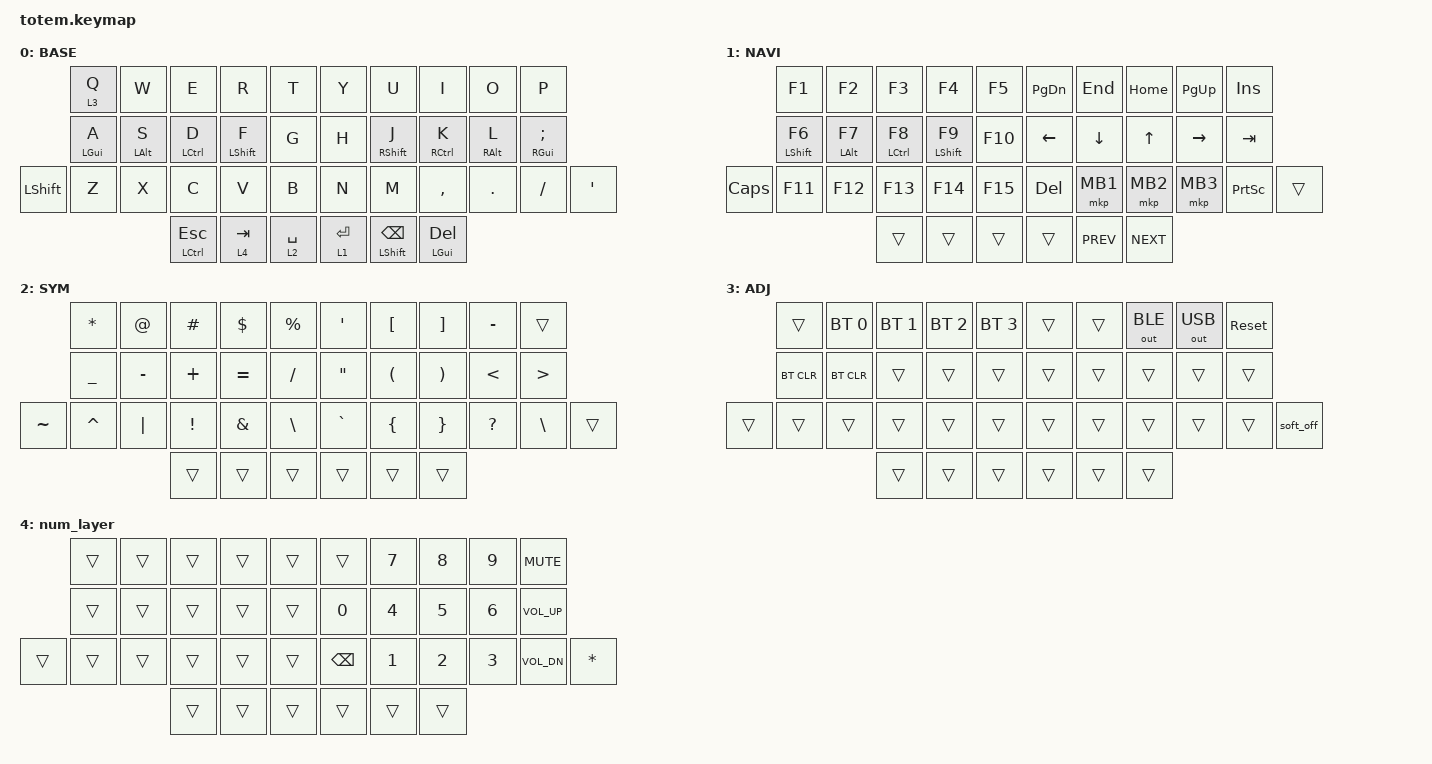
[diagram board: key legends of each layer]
//
//                                                        ▀▀▀▀▀     ▀▀▀▀▀          ▀▀█▀▀
//                                                        ▄▀▀▀▄  ▄  ▄▀▀▀▄  ▄  ▄▀▀▀▄  █  ▄▀▀▀▄
//                                                        █   █  █  █   █  █  █   █  █  █   █
//                                                         ▀▀▀   █   ▀▀▀   █   ▀▀▀   ▀   ▀▀▀
//                                                               █      ▄▄▄█▄▄▄    █   █  
//                                                               ▀      █  █  █     █▄█
//                                                             ▀▀▀▀▀    █  █  █      ▀
//                                                                      ▀  ▀  ▀
//
// ▄▄▄▄▄▄▄▄▄▄▄▄▄▄▄▄▄▄▄▄▄▄▄▄▄▄▄▄▄▄▄▄▄▄▄▄▄▄▄▄▄▄▄▄▄▄▄▄▄▄▄▄▄▄▄▄▄▄▄▄▄▄▄▄▄▄▄▄▄▄▄▄▄▄▄▄▄▄▄▄▄▄▄▄▄▄▄▄▄▄▄▄▄▄▄▄▄▄▄▄▄▄▄▄▄▄▄▄▄▄▄▄▄▄▄▄▄▄▄▄▄▄▄▄▄▄▄▄▄▄▄▄▄▄▄▄▄▄▄▄▄▄▄▄▄▄▄▄▄

#include <dt-bindings/zmk/mouse.h>
#include <behaviors.dtsi>
#include <dt-bindings/zmk/bt.h>
#include <dt-bindings/zmk/keys.h>
#include <dt-bindings/zmk/outputs.h>
#include <dt-bindings/zmk/pointing.h>

#define BASE 0
#define NAV  1
#define SYM  2
#define ADJ  3
#define TVP1 4
#define TVP2 5

&mt {
    quick-tap-ms = <100>;
    global-quick-tap;
    flavor = "tap-preferred";
    tapping-term-ms = <170>;
};

/ {
    combos { compatible = "zmk,combos"; };

    macros {
        gif: gif {
            label = "giphy";
            compatible = "zmk,behavior-macro";
            #binding-cells = <0>;
            bindings =
                <&macro_press>,
                <&kp LSHFT>,
                <&macro_tap>,
                <&kp N2>,
                <&macro_release>,
                <&kp LSHFT>,
                <&macro_tap>,
                <&kp G &kp I &kp F>;
        };
    };

    keymap {
        compatible = "zmk,keymap";

        // ▄▄▄▄▄▄▄▄▄▄▄▄▄▄▄▄▄▄▄▄▄▄▄▄▄▄▄▄▄▄▄▄▄▄▄▄▄▄▄▄▄▄▄▄▄▄▄▄▄▄▄▄▄▄▄▄▄▄▄▄▄▄▄▄▄▄▄▄▄▄▄▄▄▄▄▄▄▄▄▄▄▄▄▄▄▄▄▄▄▄▄▄▄▄▄▄▄▄▄▄▄▄▄▄▄▄▄▄▄▄▄▄▄▄▄▄▄▄▄▄▄▄▄▄▄▄▄▄▄▄▄▄▄▄▄▄▄▄▄▄▄▄▄▄▄▄▄▄▄

        base_layer {
            // ┏━━━━━━━━━━━━━━━━━━━━━━━━━━━━━━━━━━━━━━━┓

            label = "BASE";

            // ┗━━━━━━━━━━━━━━━━━━━━━━━━━━━━━━━━━━━━━━━┛
            //             ┏━━━━━━━━━━━┳━━━━━━━━━━━┳━━━━━━━━━━━┳━━━━━━━━━━━┳━━━━━━━━━━━┓   ┏━━━━━━━━━━━┳━━━━━━━━━━━┳━━━━━━━━━━━┳━━━━━━━━━━━┳━━━━━━━━━━━┓
            //             ┃     Q     ┃     W     ┃     F     ┃     P     ┃     G     ┃   ┃     J     ┃     L     ┃     U     ┃     Y     ┃     ;     ┃
            //             ┣━━━━━━━━━━━╋━━━━━━━━━━━╋━━━━━━━━━━━╋━━━━━━━━━━━╋━━━━━━━━━━━┫   ┣━━━━━━━━━━━╋━━━━━━━━━━━╋━━━━━━━━━━━╋━━━━━━━━━━━╋━━━━━━━━━━━┫
            //             ┃     A     ┃     R     ┃     S     ┃     T     ┃     D     ┃   ┃     H     ┃     N     ┃     E     ┃     I     ┃     O     ┃
            // ┏━━━━━━━━━━━╋━━━━━━━━━━━╋━━━━━━━━━━━╋━━━━━━━━━━━╋━━━━━━━━━━━╋━━━━━━━━━━━┫   ┣━━━━━━━━━━━╋━━━━━━━━━━━╋━━━━━━━━━━━╋━━━━━━━━━━━╋━━━━━━━━━━━╋━━━━━━━━━━━┓
            // ┃     Q     ┃     Z     ┃     X     ┃     C     ┃     V     ┃     B     ┃   ┃     K     ┃     M     ┃     ,     ┃     .     ┃     /     ┃     \     ┃
            // ┗━━━━━━━━━━━┻━━━━━━━━━━━┻━━━━━━━━━━━╋━━━━━━━━━━━╋━━━━━━━━━━━╋━━━━━━━━━━━┫   ┣━━━━━━━━━━━╋━━━━━━━━━━━╋━━━━━━━━━━━╋━━━━━━━━━━━┻━━━━━━━━━━━┻━━━━━━━━━━━┛
            //                                     ┃    DEL    ┃    TAB    ┃    SPC    ┃   ┃   ENTER   ┃           ┃   BSPC    ┃
            //                                     ┗━━━━━━━━━━━┻━━━━━━━━━━━┻━━━━━━━━━━━┛   ┗━━━━━━━━━━━┻━━━━━━━━━━━┻━━━━━━━━━━━┛

            bindings = <
                &lt 3 Q     &kp W       &kp E                    &kp R        &kp T          &kp Y        &kp U                     &kp I                &kp O       &kp P
                &mt LGUI A  &mt LALT S  &mt LCTRL D              &mt LSHFT F  &kp G          &kp H        &mt RSHFT J               &mt RCTRL K          &mt RALT L  &mt RGUI SEMICOLON
&kp LEFT_SHIFT  &kp Z       &kp X       &kp C                    &kp V        &kp B          &kp N        &kp M                     &kp COMMA            &kp DOT     &kp FSLH            &kp SINGLE_QUOTE
                                        &mt LEFT_CONTROL ESCAPE  &lt 4 TAB    &lt 2 SPACE    &lt 1 ENTER  &mt LEFT_SHIFT BACKSPACE  &mt LEFT_GUI DELETE
            >;
        };

        // ▄▄▄▄▄▄▄▄▄▄▄▄▄▄▄▄▄▄▄▄▄▄▄▄▄▄▄▄▄▄▄▄▄▄▄▄▄▄▄▄▄▄▄▄▄▄▄▄▄▄▄▄▄▄▄▄▄▄▄▄▄▄▄▄▄▄▄▄▄▄▄▄▄▄▄▄▄▄▄▄▄▄▄▄▄▄▄▄▄▄▄▄▄▄▄▄▄▄▄▄▄▄▄▄▄▄▄▄▄▄▄▄▄▄▄▄▄▄▄▄▄▄▄▄▄▄▄▄▄▄▄▄▄▄▄▄▄▄▄▄▄▄▄▄▄▄▄▄▄

        nav_layer {
            // ┏━━━━━━━━━━━━━━━━━━━━━━━━━━━━━━━━━━━━━━━┓

            label = "NAVI";

            // ┗━━━━━━━━━━━━━━━━━━━━━━━━━━━━━━━━━━━━━━━┛
            //             ┏━━━━━━━━━━━┳━━━━━━━━━━━┳━━━━━━━━━━━┳━━━━━━━━━━━┳━━━━━━━━━━━┓   ┏━━━━━━━━━━━┳━━━━━━━━━━━┳━━━━━━━━━━━┳━━━━━━━━━━━┳━━━━━━━━━━━┓
            //             ┃           ┃           ┃     UP    ┃           ┃     {     ┃   ┃     }     ┃     7     ┃     8     ┃     9     ┃     +     ┃
            //             ┣━━━━━━━━━━━╋━━━━━━━━━━━╋━━━━━━━━━━━╋━━━━━━━━━━━╋━━━━━━━━━━━┫   ┣━━━━━━━━━━━╋━━━━━━━━━━━╋━━━━━━━━━━━╋━━━━━━━━━━━╋━━━━━━━━━━━┫
            //             ┃   SHIFT   ┃   LEFT    ┃    DOWN   ┃   RIGHT   ┃     [     ┃   ┃     ]     ┃     4     ┃     5     ┃     6     ┃     -     ┃
            // ┏━━━━━━━━━━━╋━━━━━━━━━━━╋━━━━━━━━━━━╋━━━━━━━━━━━╋━━━━━━━━━━━╋━━━━━━━━━━━┫   ┣━━━━━━━━━━━╋━━━━━━━━━━━╋━━━━━━━━━━━╋━━━━━━━━━━━╋━━━━━━━━━━━╋━━━━━━━━━━━┓
            // ┃           ┃           ┃   P UP    ┃  C LOCK   ┃  P DOWN   ┃     (     ┃   ┃     )     ┃     1     ┃     2     ┃     3     ┃     *     ┃           ┃
            // ┗━━━━━━━━━━━┻━━━━━━━━━━━┻━━━━━━━━━━━╋━━━━━━━━━━━╋━━━━━━━━━━━╋━━━━━━━━━━━┫   ┣━━━━━━━━━━━╋━━━━━━━━━━━╋━━━━━━━━━━━╋━━━━━━━━━━━┻━━━━━━━━━━━┻━━━━━━━━━━━┛
            //                                     ┃           ┃    TAB    ┃    SPC    ┃   ┃    DEL    ┃     0     ┃           ┃
            //                                     ┗━━━━━━━━━━━┻━━━━━━━━━━━┻━━━━━━━━━━━┛   ┗━━━━━━━━━━━┻━━━━━━━━━━━┻━━━━━━━━━━━┛

            bindings = <
          &kp F1        &kp F2           &kp F3               &kp F4             &kp F5     &kp PAGE_DOWN   &kp END         &kp HOME      &kp PAGE_UP  &kp INSERT
          &mt LSHFT F6  &mt LEFT_ALT F7  &mt LEFT_CONTROL F8  &mt LEFT_SHIFT F9  &kp F10    &kp LEFT_ARROW  &kp DOWN_ARROW  &kp UP_ARROW  &kp RIGHT    &kp TAB
&kp CAPS  &kp F11       &kp F12          &kp F13              &kp F14            &kp F15    &kp DEL         &mkp MB1        &mkp MB2      &mkp MB3     &kp PRINTSCREEN  &trans
                                         &trans               &trans             &trans     &trans          &kp C_PREV      &kp C_NEXT
            >;
        };

        // ▄▄▄▄▄▄▄▄▄▄▄▄▄▄▄▄▄▄▄▄▄▄▄▄▄▄▄▄▄▄▄▄▄▄▄▄▄▄▄▄▄▄▄▄▄▄▄▄▄▄▄▄▄▄▄▄▄▄▄▄▄▄▄▄▄▄▄▄▄▄▄▄▄▄▄▄▄▄▄▄▄▄▄▄▄▄▄▄▄▄▄▄▄▄▄▄▄▄▄▄▄▄▄▄▄▄▄▄▄▄▄▄▄▄▄▄▄▄▄▄▄▄▄▄▄▄▄▄▄▄▄▄▄▄▄▄▄▄▄▄▄▄▄▄▄▄▄▄▄

        sim_layer {
            // ┏━━━━━━━━━━━━━━━━━━━━━━━━━━━━━━━━━━━━━━━┓

            label = "SYM";

            // ┗━━━━━━━━━━━━━━━━━━━━━━━━━━━━━━━━━━━━━━━┛
            //             ┏━━━━━━━━━━━┳━━━━━━━━━━━┳━━━━━━━━━━━┳━━━━━━━━━━━┳━━━━━━━━━━━┓   ┏━━━━━━━━━━━┳━━━━━━━━━━━┳━━━━━━━━━━━┳━━━━━━━━━━━┳━━━━━━━━━━━┓
            //             ┃     !     ┃     @     ┃     #     ┃     $     ┃     %     ┃   ┃     ˆ     ┃     &     ┃     Ü     ┃     '     ┃     "     ┃
            //             ┣━━━━━━━━━━━╋━━━━━━━━━━━╋━━━━━━━━━━━╋━━━━━━━━━━━╋━━━━━━━━━━━┫   ┣━━━━━━━━━━━╋━━━━━━━━━━━╋━━━━━━━━━━━╋━━━━━━━━━━━╋━━━━━━━━━━━┫
            //             ┃     Ä     ┃           ┃    SZ     ┃           ┃           ┃   ┃   MUTE    ┃   YEN     ┃   EURO    ┃  POUND    ┃     Ö     ┃
            // ┏━━━━━━━━━━━╋━━━━━━━━━━━╋━━━━━━━━━━━╋━━━━━━━━━━━╋━━━━━━━━━━━╋━━━━━━━━━━━┫   ┣━━━━━━━━━━━╋━━━━━━━━━━━╋━━━━━━━━━━━╋━━━━━━━━━━━╋━━━━━━━━━━━╋━━━━━━━━━━━┓
            // ┃           ┃  EMAIL1   ┃  EMAIL2   ┃           ┃           ┃           ┃   ┃   VOL-    ┃   VOL+    ┃   LAST    ┃   NEXT    ┃     \     ┃           ┃
            // ┗━━━━━━━━━━━┻━━━━━━━━━━━┻━━━━━━━━━━━╋━━━━━━━━━━━╋━━━━━━━━━━━╋━━━━━━━━━━━┫   ┣━━━━━━━━━━━╋━━━━━━━━━━━╋━━━━━━━━━━━╋━━━━━━━━━━━┻━━━━━━━━━━━┻━━━━━━━━━━━┛
            //                                     ┃           ┃    GIF    ┃    ADJ    ┃   ┃           ┃           ┃           ┃
            //                                     ┗━━━━━━━━━━━┻━━━━━━━━━━━┻━━━━━━━━━━━┛   ┗━━━━━━━━━━━┻━━━━━━━━━━━┻━━━━━━━━━━━┛

            bindings = <
           &kp ASTRK  &kp AT     &kp HASH  &kp DLLR   &kp PRCNT        &kp SINGLE_QUOTE   &kp LEFT_BRACKET      &kp RIGHT_BRACKET      &kp MINUS      &trans
           &kp UNDER  &kp MINUS  &kp PLUS  &kp EQUAL  &kp SLASH        &kp DOUBLE_QUOTES  &kp LEFT_PARENTHESIS  &kp RIGHT_PARENTHESIS  &kp LESS_THAN  &kp GREATER_THAN
&kp TILDE  &kp CARET  &kp PIPE   &kp EXCL  &kp AMPS   &kp BACKSLASH    &kp GRAVE          &kp LEFT_BRACE        &kp RIGHT_BRACE        &kp QUESTION   &kp BSLH          &trans
                                 &trans    &trans     &trans           &trans             &trans                &trans
            >;
        };

        // ▄▄▄▄▄▄▄▄▄▄▄▄▄▄▄▄▄▄▄▄▄▄▄▄▄▄▄▄▄▄▄▄▄▄▄▄▄▄▄▄▄▄▄▄▄▄▄▄▄▄▄▄▄▄▄▄▄▄▄▄▄▄▄▄▄▄▄▄▄▄▄▄▄▄▄▄▄▄▄▄▄▄▄▄▄▄▄▄▄▄▄▄▄▄▄▄▄▄▄▄▄▄▄▄▄▄▄▄▄▄▄▄▄▄▄▄▄▄▄▄▄▄▄▄▄▄▄▄▄▄▄▄▄▄▄▄▄▄▄▄▄▄▄▄▄▄▄▄▄

        bt_layer {
            // ┏━━━━━━━━━━━━━━━━━━━━━━━━━━━━━━━━━━━━━━━┓

            label = "ADJ";

            // ┗━━━━━━━━━━━━━━━━━━━━━━━━━━━━━━━━━━━━━━━┛
            //             ┏━━━━━━━━━━━┳━━━━━━━━━━━┳━━━━━━━━━━━┳━━━━━━━━━━━┳━━━━━━━━━━━┓   ┏━━━━━━━━━━━┳━━━━━━━━━━━┳━━━━━━━━━━━┳━━━━━━━━━━━┳━━━━━━━━━━━┓
            //             ┃   RESET   ┃ BT CLEAR  ┃  OUT TOG  ┃           ┃           ┃   ┃           ┃    F7     ┃    F8     ┃    F9     ┃    F12    ┃
            //             ┣━━━━━━━━━━━╋━━━━━━━━━━━╋━━━━━━━━━━━╋━━━━━━━━━━━╋━━━━━━━━━━━┫   ┣━━━━━━━━━━━╋━━━━━━━━━━━╋━━━━━━━━━━━╋━━━━━━━━━━━╋━━━━━━━━━━━┫
            //             ┃ BOOTLOAD  ┃ BT NEXT   ┃           ┃           ┃           ┃   ┃           ┃    F4     ┃    F5     ┃    F6     ┃    F11    ┃
            // ┏━━━━━━━━━━━╋━━━━━━━━━━━╋━━━━━━━━━━━╋━━━━━━━━━━━╋━━━━━━━━━━━╋━━━━━━━━━━━┫   ┣━━━━━━━━━━━╋━━━━━━━━━━━╋━━━━━━━━━━━╋━━━━━━━━━━━╋━━━━━━━━━━━╋━━━━━━━━━━━┓
            // ┃           ┃           ┃ BT PREV   ┃           ┃           ┃           ┃   ┃           ┃    F1     ┃    F2     ┃    F3     ┃    F10    ┃           ┃
            // ┗━━━━━━━━━━━┻━━━━━━━━━━━┻━━━━━━━━━━━╋━━━━━━━━━━━╋━━━━━━━━━━━╋━━━━━━━━━━━┫   ┣━━━━━━━━━━━╋━━━━━━━━━━━╋━━━━━━━━━━━╋━━━━━━━━━━━┻━━━━━━━━━━━┻━━━━━━━━━━━┛
            //                                     ┃           ┃           ┃           ┃   ┃           ┃           ┃           ┃
            //                                     ┗━━━━━━━━━━━┻━━━━━━━━━━━┻━━━━━━━━━━━┛   ┗━━━━━━━━━━━┻━━━━━━━━━━━┻━━━━━━━━━━━┛

            bindings = <
        &trans      &bt BT_SEL 0  &bt BT_SEL 1  &bt BT_SEL 2  &bt BT_SEL 3    &trans  &trans  &out OUT_BLE  &out OUT_USB  &sys_reset
        &bt BT_CLR  &bt BT_CLR    &trans        &trans        &trans          &trans  &trans  &trans        &trans        &trans
&trans  &trans      &trans        &trans        &trans        &trans          &trans  &trans  &trans        &trans        &trans      &soft_off
                                  &trans        &trans        &trans          &trans  &trans  &trans
            >;
        };

        num_layer {
            bindings = <
        &trans  &trans  &trans  &trans  &trans    &trans         &kp N7  &kp N8  &kp N9  &kp K_MUTE
        &trans  &trans  &trans  &trans  &trans    &kp N0         &kp N4  &kp N5  &kp N6  &kp C_VOLUME_UP
&trans  &trans  &trans  &trans  &trans  &trans    &kp BACKSPACE  &kp N1  &kp N2  &kp N3  &kp C_VOL_DN     &kp ASTRK
                        &trans  &trans  &trans    &trans         &trans  &trans
            >;
        };

        // ▄▄▄▄▄▄▄▄▄▄▄▄▄▄▄▄▄▄▄▄▄▄▄▄▄▄▄▄▄▄▄▄▄▄▄▄▄▄▄▄▄▄▄▄▄▄▄▄▄▄▄▄▄▄▄▄▄▄▄▄▄▄▄▄▄▄▄▄▄▄▄▄▄▄▄▄▄▄▄▄▄▄▄▄▄▄▄▄▄▄▄▄▄▄▄▄▄▄▄▄▄▄▄▄▄▄▄▄▄▄▄▄▄▄▄▄▄▄▄▄▄▄▄▄▄▄▄▄▄▄▄▄▄▄▄▄▄▄▄▄▄▄▄▄▄▄▄▄▄
        // ▄▄▄▄▄▄▄▄▄▄▄▄▄▄▄▄▄▄▄▄▄▄▄▄▄▄▄▄▄▄▄▄▄▄▄▄▄▄▄▄▄▄▄▄▄▄▄▄▄▄▄▄▄▄▄▄▄▄▄▄▄▄▄▄▄▄▄▄▄▄▄▄▄▄▄▄▄▄▄▄▄▄▄▄▄▄▄▄▄▄▄▄▄▄▄▄▄▄▄▄▄▄▄▄▄▄▄▄▄▄▄▄▄▄▄▄▄▄▄▄▄▄▄▄▄▄▄▄▄▄▄▄▄▄▄▄▄▄▄▄▄▄▄▄▄▄▄▄▄
    };
};
